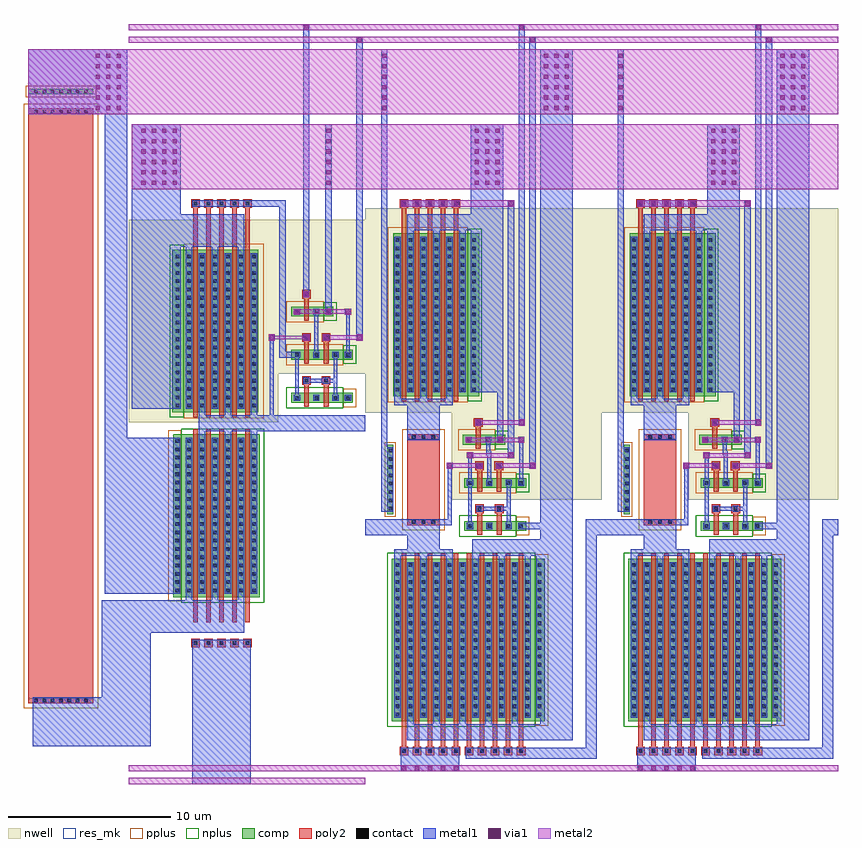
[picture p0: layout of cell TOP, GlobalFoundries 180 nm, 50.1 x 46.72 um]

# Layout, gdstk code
from math import pi, radians
import gdstk
lib = gdstk.Library(unit=1e-6, precision=1e-09)
def R(c, l, rs):  # rectangles x0, y0, x1, y1
    for r in rs: c.add(gdstk.rectangle(r[:2], r[2:], *l))
def A(c, l, x, y, w, h, nx, ny, dx, dy):  # array of equal rectangles
    R(c, l, [(x+i*dx, y+j*dy, x+i*dx+w, y+j*dy+h) for i in range(nx) for j in range(ny)])
def P(c, l, *ps):  # polygons
    for p in ps: c.add(gdstk.Polygon(p, *l))
nwell = (21, 0)
comp = (22, 0)
poly2 = (30, 0)
pplus = (31, 0)
nplus = (32, 0)
contact = (33, 0)
metal1 = (34, 0)
via1 = (35, 0)
metal2 = (36, 0)
res_mk = (110, 5)

ppolyf_s_resistor = lib.new_cell('ppolyf_s_resistor')
R(ppolyf_s_resistor, comp, [(-1.51,0,-1.15,4)])
R(ppolyf_s_resistor, poly2, [(-0.29,0,36.29,4)])
R(ppolyf_s_resistor, pplus, [(-0.59,-0.3,36.59,4.3), (-1.67,-0.16,-0.99,4.16)])
A(ppolyf_s_resistor, contact, -1.44, 0.36, 0.22, 0.22, 1, 7, 0, 0.51)
A(ppolyf_s_resistor, contact, -0.22, 0.36, 0.22, 0.22, 1, 7, 0, 0.51)
A(ppolyf_s_resistor, contact, 36, 0.36, 0.22, 0.22, 1, 7, 0, 0.51)
R(ppolyf_s_resistor, metal1, [(-1.52,0.28,-1.14,3.72), (-0.3,0.28,0.08,3.72), (35.92,0.28,36.3,3.72)])
R(ppolyf_s_resistor, res_mk, [(0,0,36,4)])

inputbuffer = lib.new_cell('InputBuffer')
R(inputbuffer, nwell, [(-6.28,7.7,2.89,10.7), (-6.28,10.7,8.26,20.15)])
R(inputbuffer, comp, [(-3.55,-3.04,1.75,6.96), (-3.62,8.32,1.68,18.32), (3.69,8.91,7.49,9.51), (3.69,11.56,7.49,12.16), (3.69,14.21,6.29,14.81)])
A(inputbuffer, poly2, -2.46, -6.13, 0.54, 0.54, 5, 2, 0.8, 27.01)
A(inputbuffer, poly2, -2.33, -4.6, 0.28, 11.87, 5, 1, 0.8, 0)
A(inputbuffer, poly2, -2.33, 8.01, 0.28, 12.87, 5, 1, 0.8, 0)
A(inputbuffer, poly2, 4.49, 8.66, 0.3, 1.34, 1, 3, 0, 2.65)
R(inputbuffer, poly2, [(5.7,8.66,6,10), (4.36,10,4.9,10.54), (5.57,10,6.11,10.54), (5.69,11.31,5.99,12.65), (4.37,12.65,4.91,13.19), (5.57,12.65,6.11,13.19), (4.36,15.3,4.9,15.84)])
R(inputbuffer, pplus, [(-3.86,-3.31,-3.06,7.23), (-2.9,7.94,2,18.69), (6.89,8.64,7.69,9.78), (3.39,11.21,6.89,12.51), (3.39,13.86,5.69,15.16)])
R(inputbuffer, nplus, [(-3.06,-3.39,2.05,7.31), (-3.78,8.005,-2.9,18.615), (3.39,8.56,6.89,9.86), (6.89,11.29,7.69,12.43), (5.69,13.94,6.49,15.08)])
A(inputbuffer, contact, -2.3, -5.97, 0.22, 0.22, 5, 2, 0.8, 27.01)
A(inputbuffer, contact, -3.42, -2.74, 0.22, 0.22, 1, 19, 0, 0.51)
A(inputbuffer, contact, -2.7, -2.74, 0.22, 0.22, 6, 19, 0.8, 0.51)
A(inputbuffer, contact, -3.4, 8.62, 0.22, 0.22, 1, 19, 0, 0.51)
A(inputbuffer, contact, -2.7, 8.62, 0.22, 0.22, 6, 19, 0.8, 0.51)
A(inputbuffer, contact, 3.94, 9.1, 0.22, 0.22, 1, 3, 0, 2.65)
A(inputbuffer, contact, 5.13, 9.1, 0.22, 0.22, 1, 3, 0, 2.65)
R(inputbuffer, contact, [(6.31,9.1,6.53,9.32), (7.08,9.1,7.3,9.32), (4.52,10.16,4.74,10.38), (5.73,10.16,5.95,10.38), (6.31,11.75,6.53,11.97), (7.08,11.75,7.3,11.97), (4.53,12.81,4.75,13.03), (5.73,12.81,5.95,13.03), (5.88,14.4,6.1,14.62), (4.52,15.46,4.74,15.68)])
A(inputbuffer, metal1, -2.38, -6.05, 0.38, 0.38, 5, 2, 0.8, 27.01)
A(inputbuffer, metal1, -2.78, -3.22, 0.38, 0.4, 3, 2, 1.6, 21.32)
A(inputbuffer, metal1, -2.78, -2.82, 0.38, 9.56, 6, 2, 0.8, 11.36)
A(inputbuffer, metal1, -1.98, 6.74, 0.38, 0.4, 3, 2, 1.6, 1.4)
A(inputbuffer, metal1, 3.86, 9.02, 0.38, 0.38, 1, 3, 0, 2.65)
A(inputbuffer, metal1, 5.05, 9.02, 0.38, 0.38, 1, 3, 0, 2.65)
A(inputbuffer, metal1, 7, 9.02, 0.38, 0.38, 1, 3, 0, 2.65)
R(inputbuffer, metal1, [(-2.38,-14.53,1.2,-5.67), (-12.18,-12.21,-4.95,-9.21), (-7.95,-12.21,-4.95,-3.22), (-2.38,-6.05,1.2,-5.67), (-7.95,-5.22,0.8,-3.22), (-7.78,-2.82,-6.38,30.63), (-7.78,-2.82,-3.12,6.74), (-3.5,-2.82,-3.12,6.74), (-1.98,7.14,8.26,8.14), (-1.98,7.14,1.6,8.14), (2.39,7.14,2.63,13.04), (-6.1,8.54,-3.1,26.03), (-3.48,8.54,-3.1,18.1), (6.23,9.02,6.61,9.4), (3.93,9.09,4.17,11.98), (6.3,9.09,6.54,11.98), (6.3,9.4,6.54,11.67), (4.44,10.08,4.82,10.46), (5.65,10.08,6.03,10.46), (4.51,10.15,6.54,10.39), (2.97,11.67,4.24,12.05), (2.97,11.67,3.35,21.34), (6.23,11.67,6.61,12.05), (5.12,11.74,5.36,14.63), (7.07,12.05,7.31,14.32), (2.32,12.73,2.7,13.11), (4.45,12.73,4.83,13.11), (5.65,12.73,6.03,13.11), (7.7,12.73,8.08,31.41), (5.12,13.86,5.36,14.63), (5.8,14.32,6.18,14.7), (5.8,14.32,6.18,26.03), (4.44,15.38,4.82,15.76), (4.44,15.38,4.82,32.19), (-5.1,18.5,0.8,20.5), (-2.38,20.96,1.2,21.34), (-2.38,20.96,3.35,21.34), (-12.46,26.63,-6.38,30.63)])
P(inputbuffer, metal1, [(5.36,11.73),(5.36,11.73),(5.36,11.73),(5.36,11.73)])
A(inputbuffer, via1, -5.52, 22.3, 0.26, 0.26, 1, 6, 0, 0.64)
A(inputbuffer, via1, -4.87, 22.3, 0.26, 0.26, 3, 6, 0.64, 0.64)
A(inputbuffer, via1, 5.86, 22.3, 0.26, 0.26, 1, 6, 0, 0.64)
A(inputbuffer, via1, -8.32, 26.9, 0.26, 0.26, 3, 6, 0.64, 0.64)
R(inputbuffer, via1, [(2.38,12.79,2.64,13.05), (4.51,12.79,4.77,13.05), (5.71,12.79,5.97,13.05), (7.76,12.79,8.02,13.05), (3.92,14.38,4.18,14.64), (5.86,14.38,6.12,14.64), (7.06,14.38,7.32,14.64), (4.5,15.44,4.76,15.7), (7.76,31.09,8.02,31.35), (4.5,31.87,4.76,32.13)])
R(inputbuffer, metal2, [(-6.28,-14.53,8.26,-14.15), (-6.28,-13.75,8.26,-13.37), (2.32,12.73,2.7,13.11), (4.45,12.73,4.83,13.11), (5.65,12.73,6.03,13.11), (7.7,12.73,8.08,13.11), (5.68,12.78,8.03,13.06), (2.39,12.8,4.75,13.04), (3.86,14.32,4.24,14.7), (5.8,14.32,6.18,14.7), (7,14.32,7.38,14.7), (3.94,14.37,7.3,14.65), (4.44,15.38,4.82,15.76), (-6.1,22.03,8.26,26.03), (-12.46,26.63,8.26,30.63), (-6.28,31.03,8.26,31.41), (-6.28,31.81,8.26,32.19)])
r = gdstk.Reference(ppolyf_s_resistor, (-12.46,26.71), rotation=3*pi/2); r.repetition = gdstk.Repetition(1, 1, v1=(0,0), v2=(0,0)); inputbuffer.add(r)

gainstage = lib.new_cell('GainStage')
R(gainstage, nwell, [(-0.98,2.93,8.26,8.29), (-6.28,8.29,8.26,20.87)])
R(gainstage, comp, [(-4.65,-10.67,4.75,-0.67), (-0.21,1.03,3.59,1.63), (-4.93,2.05,-4.57,6.32), (-0.21,3.68,3.59,4.28), (-0.29,6.33,2.31,6.93), (-4.58,9.32,0.72,19.32)])
A(gainstage, poly2, -4.18, -12.77, 0.54, 0.54, 10, 1, 0.8, 0)
A(gainstage, poly2, -4.05, -12.23, 0.28, 11.87, 10, 1, 0.8, 0)
A(gainstage, poly2, -4.05, 9.01, 0.28, 11.87, 5, 1, 0.8, 0)
A(gainstage, poly2, -4.18, 20.88, 0.54, 0.54, 5, 1, 0.8, 0)
R(gainstage, poly2, [(0.59,0.78,0.89,2.12), (1.8,0.78,2.1,2.12), (-3.71,1.38,-1.71,6.98), (0.46,2.12,1,2.66), (1.67,2.12,2.21,2.66), (0.59,3.43,0.89,4.77), (1.78,3.43,2.08,4.77), (0.46,4.77,1,5.31), (1.65,4.77,2.19,5.31), (0.51,6.08,0.81,7.42), (0.38,7.42,0.92,7.96)])
R(gainstage, pplus, [(4.16,-10.94,4.96,-0.4), (2.99,0.76,3.79,1.9), (-4.01,1.08,-1.41,7.28), (-5.09,1.89,-4.41,6.48), (-0.51,3.33,2.99,4.63), (-0.59,5.98,1.71,7.28), (-4.9,8.94,0,19.69)])
R(gainstage, nplus, [(-4.95,-11.02,4.16,-0.32), (-0.51,0.68,2.99,1.98), (2.99,3.41,3.79,4.55), (1.71,6.06,2.51,7.2), (0,9.005,0.88,19.615)])
A(gainstage, contact, -4.02, -12.61, 0.22, 0.22, 10, 1, 0.8, 0)
A(gainstage, contact, -4.42, -10.37, 0.22, 0.22, 11, 19, 0.8, 0.51)
A(gainstage, contact, 4.3, -10.37, 0.22, 0.22, 1, 19, 0, 0.51)
A(gainstage, contact, -4.86, 2.29, 0.22, 0.22, 1, 8, 0, 0.51)
A(gainstage, contact, -4.42, 9.62, 0.22, 0.22, 6, 19, 0.8, 0.51)
A(gainstage, contact, 0.28, 9.62, 0.22, 0.22, 1, 19, 0, 0.51)
A(gainstage, contact, -4.02, 21.04, 0.22, 0.22, 5, 1, 0.8, 0)
R(gainstage, contact, [(0.04,1.22,0.26,1.44), (1.23,1.22,1.45,1.44), (2.41,1.22,2.63,1.44), (3.18,1.22,3.4,1.44), (-3.42,1.46,-3.2,1.68), (-2.82,1.46,-2.6,1.68), (-2.82,1.46,-2.6,1.68), (-2.22,1.46,-2,1.68), (0.62,2.28,0.84,2.5), (1.83,2.28,2.05,2.5), (0.04,3.87,0.26,4.09), (1.23,3.87,1.45,4.09), (2.41,3.87,2.63,4.09), (3.18,3.87,3.4,4.09), (0.62,4.93,0.84,5.15), (1.81,4.93,2.03,5.15), (-0.04,6.52,0.18,6.74), (1.15,6.52,1.37,6.74), (1.9,6.52,2.12,6.74), (-3.42,6.68,-3.2,6.9), (-2.82,6.68,-2.6,6.9), (-2.82,6.68,-2.6,6.9), (-2.22,6.68,-2,6.9), (0.54,7.58,0.76,7.8)])
A(gainstage, metal1, -4.1, -12.69, 0.38, 0.38, 10, 1, 0.8, 0)
A(gainstage, metal1, -3.7, -10.85, 0.38, 0.4, 5, 1, 1.6, 0)
A(gainstage, metal1, -4.5, -10.45, 0.38, 9.56, 11, 1, 0.8, 0)
A(gainstage, metal1, -4.5, -0.89, 0.38, 0.4, 6, 1, 1.6, 0)
A(gainstage, metal1, 3.1, 1.14, 0.38, 0.38, 1, 3, 0, 2.65)
A(gainstage, metal1, -4.5, 9.14, 0.38, 0.4, 3, 1, 1.6, 0)
A(gainstage, metal1, -4.5, 9.54, 0.38, 9.56, 6, 1, 0.8, 0)
A(gainstage, metal1, -3.7, 19.1, 0.38, 0.4, 3, 1, 1.6, 0)
A(gainstage, metal1, -4.1, 20.96, 0.38, 0.38, 5, 1, 0.8, 0)
R(gainstage, metal1, [(-4.1,-13.75,-0.52,-12.31), (-0.1,-12.99,7.94,-12.31), (7.26,-12.99,7.94,1.76), (-4.1,-12.69,-0.52,-12.31), (-0.1,-12.69,3.48,-12.31), (-3.7,-11.85,6.46,-10.85), (4.46,-11.47,6.46,30.63), (4.22,-10.45,4.6,-0.89), (4.22,-0.89,4.6,-0.49), (-4.5,-0.49,-0.92,-0.11), (-3.71,-0.49,-1.71,1.76), (0.3,-0.49,6.46,0.51), (-6.28,0.76,-1.71,1.76), (7.26,0.76,8.26,1.76), (-0.04,1.14,0.34,1.52), (1.15,1.14,1.53,1.52), (2.33,1.14,2.71,1.52), (3.1,1.14,6.46,1.52), (0.03,1.21,0.27,5.76), (2.4,1.21,2.64,4.1), (-3.71,1.38,-0.98,1.76), (-1.22,1.38,-0.98,5.16), (2.4,1.52,2.64,3.79), (0.54,2.2,0.92,2.58), (1.75,2.2,2.13,2.58), (-5.32,2.21,-4.94,30.63), (-4.94,2.21,-4.56,6.16), (0.61,2.27,2.64,2.51), (-0.04,3.79,0.34,4.17), (1.15,3.79,1.53,4.17), (2.33,3.79,2.71,4.17), (1.22,3.85,1.46,5.93), (3.17,4.17,3.41,6.44), (-1.29,4.84,-0.91,5.22), (0.54,4.85,0.92,5.23), (1.73,4.85,2.11,5.23), (3.8,4.85,4.18,31.41), (-0.04,5.48,0.34,5.86), (2.48,5.48,2.86,21.34), (1.14,5.69,1.38,6.75), (1.14,5.98,1.38,6.75), (-0.12,6.44,0.26,6.82), (1.07,6.44,1.45,6.82), (1.82,6.44,2.2,9.68), (1.82,6.44,2.2,6.82), (-3.71,6.6,-1.71,9.14), (0.46,7.5,0.84,7.88), (3.14,7.5,3.52,32.19), (-4.5,8.76,-0.92,9.14), (0.2,9.54,2.2,26.03), (0.2,9.54,0.58,19.1), (-3.7,19.5,2.2,20.5), (-4.1,20.96,-0.52,21.34)])
P(gainstage, metal1, [(1.46,3.85),(1.46,3.85),(1.46,3.85),(1.46,3.85)])
A(gainstage, via1, -4.04, -13.69, 0.26, 0.26, 5, 2, 0.8, 34.71)
A(gainstage, via1, 0.43, 22.3, 0.26, 0.26, 3, 6, 0.64, 0.64)
A(gainstage, via1, -5.26, 26.9, 0.26, 0.26, 1, 6, 0, 0.64)
A(gainstage, via1, 4.69, 26.9, 0.26, 0.26, 3, 6, 0.64, 0.64)
R(gainstage, via1, [(-1.23,4.91,-0.97,5.17), (0.6,4.91,0.86,5.17), (1.79,4.91,2.05,5.17), (3.86,4.91,4.12,5.17), (0.02,5.54,0.28,5.8), (2.54,5.54,2.8,5.8), (-0.06,6.5,0.2,6.76), (1.88,6.5,2.14,6.76), (3.16,6.5,3.42,6.76), (0.52,7.56,0.78,7.82), (3.2,7.56,3.46,7.82), (2.54,21.02,2.8,21.28), (3.86,31.09,4.12,31.35), (3.2,31.87,3.46,32.13)])
R(gainstage, metal2, [(-6.28,-13.75,8.26,-13.37), (-1.29,4.84,-0.91,5.22), (0.54,4.85,0.92,5.23), (1.73,4.85,2.11,5.23), (3.8,4.85,4.18,5.23), (-1.21,4.9,0.84,5.18), (1.78,4.9,4.13,5.18), (-0.04,5.48,0.34,5.86), (2.48,5.48,2.86,5.86), (0.01,5.53,2.86,5.81), (-0.12,6.44,0.26,6.82), (1.82,6.44,2.2,6.82), (3.1,6.44,3.48,6.82), (0.04,6.49,3.4,6.77), (0.46,7.5,0.84,7.88), (3.14,7.5,3.52,7.88), (0.59,7.55,3.47,7.83), (-4.1,20.96,2.86,21.34), (-6.28,22.03,8.26,26.03), (-6.28,26.63,8.26,30.63), (-6.28,31.03,8.26,31.41), (-6.28,31.81,8.26,32.19)])
R(gainstage, res_mk, [(-3.71,1.68,-1.71,6.68), (-3.71,1.68,-1.71,6.68)])

top = lib.new_cell('TOP')
r = gdstk.Reference(inputbuffer, (-13.58,-0.06)); r.repetition = gdstk.Repetition(1, 1, v1=(0,0), v2=(0,0)); top.add(r)
r = gdstk.Reference(gainstage, (0.96,-0.06)); r.repetition = gdstk.Repetition(1, 1, v1=(0,0), v2=(0,0)); top.add(r)
r = gdstk.Reference(gainstage, (15.5,-0.06)); r.repetition = gdstk.Repetition(1, 1, v1=(0,0), v2=(0,0)); top.add(r)

lib.write_gds('TOP.gds')
